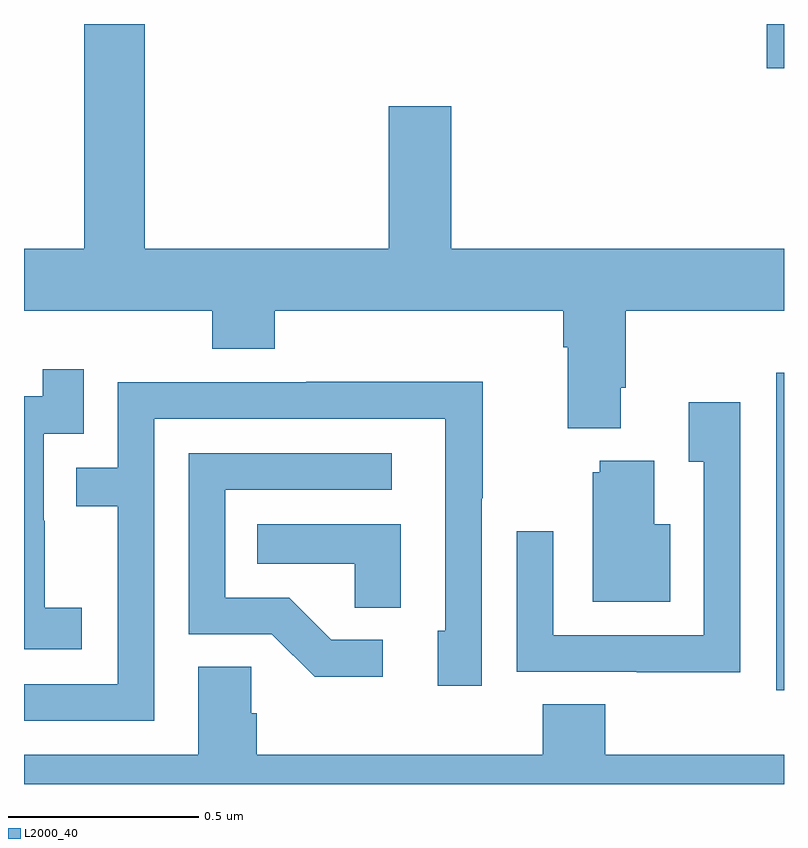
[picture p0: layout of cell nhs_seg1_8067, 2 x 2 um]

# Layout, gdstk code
import gdstk
lib = gdstk.Library(unit=1e-6, precision=1e-09)
def R(c, l, rs):  # rectangles x0, y0, x1, y1
    for r in rs: c.add(gdstk.rectangle(r[:2], r[2:], *l))
def P(c, l, *ps):  # polygons
    for p in ps: c.add(gdstk.Polygon(p, *l))
L2000_40 = (2000, 40)

nhs_seg1_8067 = lib.new_cell('nhs_seg1_8067')
R(nhs_seg1_8067, L2000_40, [(213.98,505.446,214,506.281), (213.954,507.082,214,507.199)])
P(nhs_seg1_8067, L2000_40, [(213.419,506.348),(213.431,506.348),(213.431,506.135),(213.571,506.135),(213.571,506.242),(213.584,506.242),(213.584,506.444),(214,506.444),(214,506.608),(213.124,506.608),(213.124,506.983),(212.96,506.983),(212.96,506.608),(212.318,506.608),(212.318,507.199),(212.158,507.199),(212.158,506.608),(212,506.608),(212,506.444),(212.495,506.444),(212.495,506.345),(212.66,506.345),(212.66,506.444),(213.419,506.444)],
  [(212.152,505.663),(212.054,505.663),(212.054,505.892),(212.052,505.892),(212.052,506.121),(212.157,506.121),(212.157,506.29),(212.049,506.29),(212.049,506.22),(212,506.22),(212,505.553),(212.152,505.553)],
  [(212.343,506.16),(213.108,506.16),(213.108,505.602),(213.089,505.602),(213.089,505.458),(213.204,505.458),(213.204,505.951),(213.207,505.951),(213.207,506.258),(212.743,506.258),(212.743,506.256),(212.247,506.256),(212.247,506.031),(212.137,506.031),(212.137,505.93),(212.247,505.93),(212.247,505.461),(212,505.461),(212,505.365),(212.343,505.365)],
  [(213.885,506.203),(213.749,506.203),(213.749,506.047),(213.789,506.047),(213.789,505.59),(213.393,505.59),(213.393,505.864),(213.297,505.864),(213.297,505.494),(213.613,505.494),(213.613,505.493),(213.885,505.493)],
  [(212.944,505.578),(212.809,505.578),(212.698,505.689),(212.529,505.689),(212.529,505.974),(212.968,505.974),(212.968,506.07),(212.433,506.07),(212.433,505.593),(212.652,505.593),(212.765,505.481),(212.944,505.481)],
  [(213.7,505.882),(213.658,505.882),(213.658,506.05),(213.515,506.05),(213.515,506.019),(213.497,506.019),(213.497,505.679),(213.7,505.679)],
  [(212.992,505.882),(212.614,505.882),(212.614,505.778),(212.871,505.778),(212.871,505.663),(212.992,505.663)],
  [(214,505.276),(213.53,505.276),(213.53,505.409),(213.365,505.409),(213.365,505.276),(212.612,505.276),(212.612,505.385),(212.598,505.385),(212.598,505.508),(212.459,505.508),(212.459,505.276),(212,505.276),(212,505.199),(214,505.199)])

lib.write_gds('nhs_seg1_8067.gds')
